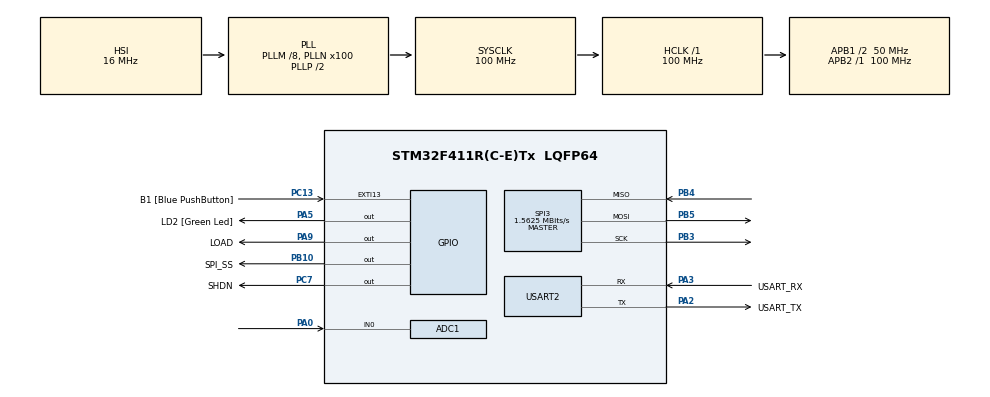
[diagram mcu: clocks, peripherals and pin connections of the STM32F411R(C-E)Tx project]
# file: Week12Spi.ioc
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Mcu.Family=STM32F4
PB10.PinState=GPIO_PIN_SET
RCC.CortexFreq_Value=100000000
SPI3.Direction=SPI_DIRECTION_2LINES
SPI3.VirtualType=VM_MASTER
ADC1.ContinuousConvMode=DISABLE
PA14.GPIO_Label=TCK
RCC.SYSCLKSource=RCC_SYSCLKSOURCE_PLLCLK
ProjectManager.StackSize=0x400
NVIC.ADC_IRQn=true\:0\:0\:false\:false\:true\:true\:true
PH0\ -\ OSC_IN.Signal=RCC_OSC_IN
RCC.HCLKFreq_Value=100000000
RCC.APB2TimFreq_Value=100000000
TIM3.Period=100
Dma.ADC1.0.Direction=DMA_PERIPH_TO_MEMORY
PC7.Signal=GPIO_Output
NVIC.DMA2_Stream0_IRQn=true\:0\:0\:false\:false\:true\:false\:true
Dma.ADC1.0.MemDataAlignment=DMA_MDATAALIGN_HALFWORD
RCC.AHBFreq_Value=100000000
SPI3.DataSize=SPI_DATASIZE_16BIT
ADC1.Channel-0\#ChannelRegularConversion=ADC_CHANNEL_0
RCC.HSE_VALUE=8000000
PB3.Mode=Full_Duplex_Master
ADC1.ScanConvMode=ENABLE
PC13-ANTI_TAMP.Signal=GPXTI13
PB4.Mode=Full_Duplex_Master
PC14-OSC32_IN.Mode=LSE-External-Oscillator
PA14.Mode=Serial_Wire
TIM3.Prescaler=100
Dma.ADC1.0.PeriphInc=DMA_PINC_DISABLE
NVIC.TIM2_IRQn=true\:0\:0\:false\:false\:true\:true\:true
PB5.Mode=Full_Duplex_Master
PC7.PinState=GPIO_PIN_SET
SH.ADCx_IN0.0=ADC1_IN0,IN0
ADC1.SamplingTime-0\#ChannelRegularConversion=ADC_SAMPLETIME_3CYCLES
RCC.FLatency-AdvancedSettings=FLASH_LATENCY_3
Mcu.Package=LQFP64
TIM2.Prescaler=99
SPI3.Mode=SPI_MODE_MASTER
USART2.VirtualMode=VM_ASYNC
PA2.GPIO_Label=USART_TX
NVIC.SPI3_IRQn=true\:0\:0\:false\:false\:true\:true\:true
RCC.APB1TimFreq_Value=100000000
Dma.ADC1.0.FIFOMode=DMA_FIFOMODE_DISABLE
Dma.Request0=ADC1
ADC1.EOCSelection=ADC_EOC_SEQ_CONV
VP_TIM3_VS_ClockSourceINT.Mode=Internal
PB4.Signal=SPI3_MISO
PA3.Signal=USART2_RX
PC15-OSC32_OUT.Mode=LSE-External-Oscillator
Dma.ADC1.0.Instance=DMA2_Stream0
ADC1.Rank-0\#ChannelRegularConversion=1
PC13-ANTI_TAMP.GPIO_Label=B1 [Blue PushButton]
PA9.GPIO_Label=LOAD
PH1\ -\ OSC_OUT.Mode=HSE-External-Clock-Source
ADC1.DiscontinuousConvMode=DISABLE
RCC.APB1CLKDivider=RCC_HCLK_DIV2
PC14-OSC32_IN.Signal=RCC_OSC32_IN
NVIC.USART2_IRQn=true\:0\:0\:false\:false\:true\:true\:true
PA0-WKUP.Signal=ADCx_IN0
PA13.Signal=SYS_JTMS-SWDIO
PA3.Mode=Asynchronous
Dma.ADC1.0.PeriphDataAlignment=DMA_PDATAALIGN_HALFWORD
PH0\ -\ OSC_IN.Mode=HSE-External-Clock-Source
ProjectManager.TargetToolchain=STM32CubeIDE
PB10.GPIO_Label=SPI_SS
Dma.ADC1.0.Mode=DMA_CIRCULAR
Dma.ADC1.0.Priority=DMA_PRIORITY_LOW
PA9.Signal=GPIO_Output
PA9.PinState=GPIO_PIN_SET
PC15-OSC32_OUT.Signal=RCC_OSC32_OUT
PB10.Signal=GPIO_Output
PA5.Signal=GPIO_Output
PH1\ -\ OSC_OUT.Signal=RCC_OSC_OUT
board=NUCLEO-F411RE
RCC.VCOOutputFreq_Value=200000000
RCC.APB2Freq_Value=100000000
SPI3.CalculateBaudRate=1.5625 MBits/s
VP_TIM2_VS_ClockSourceINT.Mode=Internal
SPI3.BaudRatePrescaler=SPI_BAUDRATEPRESCALER_32
ADC1.DMAContinuousRequests=ENABLE
PA13.Mode=Serial_Wire
Mcu.Name=STM32F411R(C-E)Tx
PA2.Signal=USART2_TX
PA13.GPIO_Label=TMS
ADC1.ExternalTrigConv=ADC_EXTERNALTRIGCONV_T3_TRGO
PC7.GPIO_Label=SHDN
RCC.48MHZClocksFreq_Value=50000000
PB3.Signal=SPI3_SCK
RCC.SYSCLKFreq_VALUE=100000000
PB5.Signal=SPI3_MOSI
ADC1.master=1
PA5.GPIO_Label=LD2 [Green Led]
PC13-ANTI_TAMP.GPIO_ModeDefaultEXTI=GPIO_MODE_IT_FALLING
PA14.Signal=SYS_JTCK-SWCLK
Dma.ADC1.0.MemInc=DMA_MINC_ENABLE
ProjectManager.HeapSize=0x200
RCC.HSI_VALUE=16000000
NVIC.PriorityGroup=NVIC_PRIORITYGROUP_0
ADC1.NbrOfConversionFlag=1
RCC.PLLM=8
RCC.PLLN=100
PA2.Mode=Asynchronous
TIM3.TIM_MasterOutputTrigger=TIM_TRGO_UPDATE
RCC.APB1Freq_Value=50000000
PA3.GPIO_Label=USART_RX

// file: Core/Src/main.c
/* USER CODE BEGIN Header */
/**
 ******************************************************************************
 * @file           : main.c
 * @brief          : Main program body
 ******************************************************************************
 * @attention
 *
 * <h2><center>&copy; Copyright (c) 2021 STMicroelectronics.
 * All rights reserved.</center></h2>
 *
 * This software component is licensed by ST under BSD 3-Clause license,
 * the "License"; You may not use this file except in compliance with the
 * License. You may obtain a copy of the License at:
 *                        opensource.org/licenses/BSD-3-Clause
 *
 ******************************************************************************
 */
/* USER CODE END Header */
#include "main.h"

/* USER CODE BEGIN Includes */
#include <math.h>
/* USER CODE END Includes */

ADC_HandleTypeDef hadc1;
DMA_HandleTypeDef hdma_adc1;

SPI_HandleTypeDef hspi3;

TIM_HandleTypeDef htim2;
TIM_HandleTypeDef htim3;

UART_HandleTypeDef huart2;

/* USER CODE BEGIN PV */
char TxDataBuffer[32] = { 0 };
char RxDataBuffer[32] = { 0 };
int16_t inputchar;
uint16_t ADCin = 0;
uint64_t _micro = 0;
uint16_t dataOut = 0;
uint16_t dataOut2 = 0;
uint8_t DACConfig = 0b0011;
float Sine_angle = 0;
float Frequency = 10;
int State = 0;
int Slope = 1;
int waveform = 0;
int Duty_cycle = 50;
float V_high = 3.3;
float V_low = 0;
float Frequency;
float Voltageout;
float Voltagein;
char Menu_Start1[] =
		"\r\n0 ---> Sawtooth\r\n 1 ---> Sine wave\r\n 2 ---> Square wave\r\n";
char Increase_f[] = " /Increase Frequency";
char Decrease_f[] = " /Decrease Frequency";
char saw_tooth[] =
		"\r\nSaw tooth \r\n + Increase Frequency\r\n - Decrease Frequency\r\n v Set voltage\r\n 1 Slope Up\r\n 2 Slope Down x Select_waveform\r\n";
char set_voltage[] = "\r\nSet Voltage \r\n b V high\r\n n V low\r\n x Back\r\n";
char set_dutycycle[] =
		"\r\n+ Increase duty cycle\r\n - Decrease duty cycle\r\n x Back\r\n";
char sin_wave[] =
		"\r\nSine wave \r\n + Increase Frequency\r\n - Decrease Frequency\r\n v Set voltage\r\n x Select_waveform\r\n";
char sqaure_wave[] =
		"\r\nSqaure wave \r\n + Increase Frequency\r\n - Decrease Frequency\r\n d Set Duty cycle\r\n v Set voltage\r\n x Select_waveform\r\n";
enum State {
	Select_waveform = 1,
	Saw_tooth,
	Sine_wave,
	Square_wave,
	Set_voltage,
	Set_Vhigh,
	Set_Vlow,
	Dutycycle,
	Set_Dutycycle
};
/* USER CODE END PV */

void SystemClock_Config(void);
static void MX_GPIO_Init(void);
static void MX_DMA_Init(void);
static void MX_USART2_UART_Init(void);
static void MX_SPI3_Init(void);
static void MX_ADC1_Init(void);
static void MX_TIM3_Init(void);
static void MX_TIM2_Init(void);
/* USER CODE BEGIN PFP */
void MCP4922SetOutput(uint8_t Config, uint16_t DACOutput);
uint64_t micros();
//void UARTRecieveAndResponsePolling();
int16_t UARTRecieveIT();
/* USER CODE END PFP */

int main(void) {

	/* MCU Configuration--------------------------------------------------------*/

	/* Reset of all peripherals, Initializes the Flash interface and the Systick. */
	HAL_Init();

	/* Configure the system clock */
	SystemClock_Config();

	/* Initialize all configured peripherals */
	MX_GPIO_Init();
	MX_DMA_Init();
	MX_USART2_UART_Init();
	MX_SPI3_Init();
	MX_ADC1_Init();
	MX_TIM3_Init();
	MX_TIM2_Init();
	/* USER CODE BEGIN 2 */
	HAL_TIM_Base_Start(&htim3);
	HAL_TIM_Base_Start_IT(&htim2);
	HAL_ADC_Start_DMA(&hadc1, (uint32_t*) &ADCin, 1);

	HAL_GPIO_WritePin(LOAD_GPIO_Port, LOAD_Pin, GPIO_PIN_RESET); // SET DAC low , A
	/* USER CODE END 2 */

	/* Infinite loop */
	/* USER CODE BEGIN WHILE */
	while (1) {
		HAL_UART_Receive_IT(&huart2, (uint8_t*) RxDataBuffer, 32);
		inputchar = UARTRecieveIT();
//		static uint64_t timestamp = 0;
		switch (State) {
		case 0:
			HAL_UART_Transmit(&huart2, (uint8_t*) Menu_Start1,
					strlen(Menu_Start1), 10);
			State = Select_waveform;
			break;
		case Select_waveform:
			if (inputchar == '0') {
				HAL_UART_Transmit(&huart2, (uint8_t*) saw_tooth,
						strlen(saw_tooth), 10);
				State = Saw_tooth;
			} else if (inputchar == '1') {
				HAL_UART_Transmit(&huart2, (uint8_t*) sin_wave,
						strlen(sin_wave), 10);
				State = Sine_wave;
			} else if (inputchar == '2') {
				HAL_UART_Transmit(&huart2, (uint8_t*) sqaure_wave,
						strlen(sqaure_wave), 10);
				State = Square_wave;
			} else if (inputchar != -1
					&& (inputchar != '0' || inputchar != '1' || inputchar != '2')) {
				HAL_UART_Transmit(&huart2, (uint8_t*) "Error\r\n",
						strlen("Error\r\n"), 10);
			}
			break;
		case Saw_tooth:
			waveform = 1;
			if (inputchar == '+') {
				HAL_UART_Transmit(&huart2, (uint8_t*) Increase_f,
						strlen(Increase_f), 10);
				Frequency += 0.1;
				if (Frequency > 10) {
					Frequency = 10;
				}
				State = Saw_tooth;
			} else if (inputchar == '-') {
				HAL_UART_Transmit(&huart2, (uint8_t*) Decrease_f,
						strlen(Decrease_f), 10);
				Frequency -= 0.1;
				if (Frequency < 0) {
					Frequency = 0;
				}
				State = Saw_tooth;
			} else if (inputchar == 'x') {
				HAL_UART_Transmit(&huart2, (uint8_t*) Menu_Start1,
						strlen(Menu_Start1), 10);
				State = Select_waveform;
			} else if (inputchar == 'v') {
				HAL_UART_Transmit(&huart2, (uint8_t*) set_voltage,
						strlen(set_voltage), 10);
				State = Set_voltage;
			} else if (inputchar == '1') {
				Slope = 1;
				State = Saw_tooth;
			} else if (inputchar == '2') {
				Slope = 2;
				State = Saw_tooth;
			}
			break;
		case Sine_wave:
			waveform = 2;
			if (inputchar == '+') {
				HAL_UART_Transmit(&huart2, (uint8_t*) Increase_f,
						strlen(Increase_f), 10);
				Frequency += 0.1;
				if (Frequency > 10) {
					Frequency = 10;
				}
				State = Sine_wave;
			} else if (inputchar == '-') {
				HAL_UART_Transmit(&huart2, (uint8_t*) Decrease_f,
						strlen(Decrease_f), 10);
				Frequency -= 0.1;
				if (Frequency < 0) {
					Frequency = 0;
				}
				State = Sine_wave;
			} else if (inputchar == 'v') {
				HAL_UART_Transmit(&huart2, (uint8_t*) set_voltage,
						strlen(set_voltage), 10);
				State = Set_voltage;
			}
			if (inputchar == 'x') {
				HAL_UART_Transmit(&huart2, (uint8_t*) Menu_Start1,
						strlen(Menu_Start1), 10);
				State = Select_waveform;
			}
			break;
		case Square_wave:
			waveform = 3;
			if (inputchar == '+') {
				HAL_UART_Transmit(&huart2, (uint8_t*) Increase_f,
						strlen(Increase_f), 10);
				Frequency += 0.1;
				if (Frequency > 10) {
					Frequency = 10;
				}
				State = Square_wave;
			} else if (inputchar == '-') {
				HAL_UART_Transmit(&huart2, (uint8_t*) Decrease_f,
						strlen(Decrease_f), 10);
				Frequency -= 0.1;
				if (Frequency < 0) {
					Frequency = 0;
				}

				State = Square_wave;
			} else if (inputchar == 'd') {
				HAL_UART_Transmit(&huart2, (uint8_t*) Decrease_f,
						strlen(Decrease_f), 10);
				State = Dutycycle;
			} else if (inputchar == 'v') {
				HAL_UART_Transmit(&huart2, (uint8_t*) set_voltage,
						strlen(set_voltage), 10);
				State = Set_voltage;
			}
			if (inputchar == 'x') {
				HAL_UART_Transmit(&huart2, (uint8_t*) Menu_Start1,
						strlen(Menu_Start1), 10);
				State = Select_waveform;
			}
			break;
		case Set_voltage:
			if (inputchar == 'b') { // V_high
				HAL_UART_Transmit(&huart2,
						(uint8_t*) "+ Increase V_high\r\n - Decrease V_high\r\n x Set voltage\r\n",
						strlen(
								"+ Increase V_high\r\n - Decrease V_high\r\n x Set voltage\r\n"),
						10);
				State = Set_Vhigh;
			} else if (inputchar == 'n') { // V_low
				HAL_UART_Transmit(&huart2,
						(uint8_t*) "+ Increase V_low\r\n - Decrease V_low\r\n x Set voltage\r\n",
						strlen(
								"+ Increase V_low\r\n - Decrease V_low\r\n x Set voltage\r\n"),
						10);
				State = Set_Vlow;
			}
			if (inputchar == 'x') {
				if (waveform == 1) {
					HAL_UART_Transmit(&huart2, (uint8_t*) saw_tooth,
							strlen(saw_tooth), 10);
					State = Saw_tooth;
				} else if (waveform == 2) {
					HAL_UART_Transmit(&huart2, (uint8_t*) sin_wave,
							strlen(Menu_Start1), 10);
					State = Sine_wave;
				} else if (waveform == 3) {
					HAL_UART_Transmit(&huart2, (uint8_t*) sqaure_wave,
							strlen(sqaure_wave), 10);
					State = Square_wave;
				}
			}
			break;
		case Set_Vhigh:
			if (inputchar == '+') {
				HAL_UART_Transmit(&huart2, (uint8_t*) " \Increase V high ",
						strlen(" \Increase V high "), 10);
				V_high += 0.1;
				if (V_high > 3.3) {
					V_high = 3.3;
				}
				State = Set_Vhigh;
			} else if (inputchar == '-') {
				HAL_UART_Transmit(&huart2, (uint8_t*) " \Decrease V high ",
						strlen(" \Decrease V high "), 10);
				V_high -= 0.1;
				if (V_high < 0) {
					V_high = 0;
				}
				State = Set_Vhigh;
			} else if (inputchar == 'x') {
				HAL_UART_Transmit(&huart2, (uint8_t*) set_voltage,
						strlen(set_voltage), 10);
				State = Set_voltage;
			}
			break;
		case Set_Vlow:
			if (inputchar == '+') {
				HAL_UART_Transmit(&huart2, (uint8_t*) " \Increase V low ",
						strlen(" \Increase V low "), 10);
				V_low += 0.1;
				if (V_low > 3.3) {
					V_low = 3.3;
				}
				State = Set_Vlow;
			} else if (inputchar == '-') {
				HAL_UART_Transmit(&huart2, (uint8_t*) " \Decrease V low ",
						strlen(" \Decrease V low "), 10);
				V_low -= 0.1;
				if (V_low < 0) {
					V_low = 0;
				}
				State = Set_Vlow;
			} else if (inputchar == 'x') {
				HAL_UART_Transmit(&huart2, (uint8_t*) set_voltage,
						strlen(set_voltage), 10);
				State = Set_voltage;
			}
			break;
		case Dutycycle:
			HAL_UART_Transmit(&huart2, (uint8_t*) set_dutycycle,
					strlen(set_dutycycle), 10);
			State = Set_Dutycycle;
			break;
		case Set_Dutycycle:
			if (inputchar == '+') {
				HAL_UART_Transmit(&huart2, (uint8_t*) "Increase dutycycle ",
						strlen("Increase dutycycle "), 10);
				Duty_cycle += 10;
				if (Duty_cycle > 100) {
					Duty_cycle = 100;
				}
				State = Set_Dutycycle;
			} else if (inputchar == '-') {
				HAL_UART_Transmit(&huart2, (uint8_t*) "Decrease dutycycle ",
						strlen("Decrease dutycycle "), 10);
				Duty_cycle -= 10;
				if (Duty_cycle < 0) {
					Duty_cycle = 0;
				}
				State = Set_Dutycycle;
			} else if (inputchar == 'x') {
				HAL_UART_Transmit(&huart2, (uint8_t*) sqaure_wave,
						strlen(sqaure_wave), 10);
				State = Square_wave;
			}
		}
		static uint64_t timestamp = 0;
		static uint64_t timestamp2 = 0;
		Voltagein = ADCin * 3.3 / 4096;
		if (micros() - timestamp > 100) {//10 kHz
			if (waveform == 1) {//saw
				if (Slope == 1) {
					if (micros() - timestamp2 <= (1 / Frequency) * 1000000) {
						Voltageout = V_low + (V_high - V_low)* ((micros() - timestamp2)/ ((1 / Frequency) * 1000000));
					} else if (micros() - timestamp2> (1 / Frequency) * 1000000) {
						timestamp2 = micros();
					}
				} else if (Slope == 2) {
					if (micros() - timestamp2 <= (1 / Frequency) * 1000000) {
						Voltageout = V_high - (V_high - V_low)* ((micros() - timestamp2)/ ((1 / Frequency) * 1000000));
					} else if (micros() - timestamp2
							> (1 / Frequency) * 1000000) {
						timestamp2 = micros();
					}
				}
			} else if (waveform == 2) {//sin
				if (micros() - timestamp2 <= ((1 / Frequency) * 1000000)) {
					Sine_angle = ((micros() - timestamp2)/ ((1 / Frequency) * 1000000)) * 2 * 3.14;//rad
					Voltageout = V_low+((sin(Sine_angle) + 1) * (V_high - V_low) / 2);
				} else if (micros() - timestamp2 > ((1 / Frequency) * 1000000)) {
					timestamp2 = micros();
				}
			} else if (waveform == 3) {//Square

				if (micros() - timestamp2 <= ((1 / Frequency) * 1000000)) {
					if (micros() - timestamp2
							<= ((1 / Frequency) * 1000000) * Duty_cycle / 100) {
						Voltageout = V_high;
					} else if (micros() - timestamp2
							> ((1 / Frequency) * 1000000) * Duty_cycle / 100) {
						Voltageout = V_low;
					}
				} else if (micros() - timestamp2 > ((1 / Frequency) * 1000000)) {
					timestamp2 = micros();
				}
			}
			dataOut = (int) (Voltageout * 4095 / 3.3);
			if (hspi3.State == HAL_SPI_STATE_READY && HAL_GPIO_ReadPin(SPI_SS_GPIO_Port, SPI_SS_Pin)== GPIO_PIN_SET) {
				MCP4922SetOutput(DACConfig, dataOut);
			}
			timestamp = micros();
		}

		/* USER CODE END WHILE */

	}
}

void SystemClock_Config(void) {
	RCC_OscInitTypeDef RCC_OscInitStruct = { 0 };
	RCC_ClkInitTypeDef RCC_ClkInitStruct = { 0 };

	/** Configure the main internal regulator output voltage
	 */
	__HAL_RCC_PWR_CLK_ENABLE();
	__HAL_PWR_VOLTAGESCALING_CONFIG(PWR_REGULATOR_VOLTAGE_SCALE1);
	/** Initializes the RCC Oscillators according to the specified parameters
	 * in the RCC_OscInitTypeDef structure.
	 */
	RCC_OscInitStruct.OscillatorType = RCC_OSCILLATORTYPE_HSI;
	RCC_OscInitStruct.HSIState = RCC_HSI_ON;
	RCC_OscInitStruct.HSICalibrationValue = RCC_HSICALIBRATION_DEFAULT;
	RCC_OscInitStruct.PLL.PLLState = RCC_PLL_ON;
	RCC_OscInitStruct.PLL.PLLSource = RCC_PLLSOURCE_HSI;
	RCC_OscInitStruct.PLL.PLLM = 8;
	RCC_OscInitStruct.PLL.PLLN = 100;
	RCC_OscInitStruct.PLL.PLLP = RCC_PLLP_DIV2;
	RCC_OscInitStruct.PLL.PLLQ = 4;
	if (HAL_RCC_OscConfig(&RCC_OscInitStruct) != HAL_OK) {
		Error_Handler();
	}
	/** Initializes the CPU, AHB and APB buses clocks
	 */
	RCC_ClkInitStruct.ClockType = RCC_CLOCKTYPE_HCLK | RCC_CLOCKTYPE_SYSCLK
			| RCC_CLOCKTYPE_PCLK1 | RCC_CLOCKTYPE_PCLK2;
	RCC_ClkInitStruct.SYSCLKSource = RCC_SYSCLKSOURCE_PLLCLK;
	RCC_ClkInitStruct.AHBCLKDivider = RCC_SYSCLK_DIV1;
	RCC_ClkInitStruct.APB1CLKDivider = RCC_HCLK_DIV2;
	RCC_ClkInitStruct.APB2CLKDivider = RCC_HCLK_DIV1;

	if (HAL_RCC_ClockConfig(&RCC_ClkInitStruct, FLASH_LATENCY_3) != HAL_OK) {
		Error_Handler();
	}
}

static void MX_ADC1_Init(void) {

	ADC_ChannelConfTypeDef sConfig = { 0 };

	/** Configure the global features of the ADC (Clock, Resolution, Data Alignment and number of conversion)
	 */
	hadc1.Instance = ADC1;
	hadc1.Init.ClockPrescaler = ADC_CLOCK_SYNC_PCLK_DIV4;
	hadc1.Init.Resolution = ADC_RESOLUTION_12B;
	hadc1.Init.ScanConvMode = ENABLE;
	hadc1.Init.ContinuousConvMode = DISABLE;
	hadc1.Init.DiscontinuousConvMode = DISABLE;
	hadc1.Init.ExternalTrigConvEdge = ADC_EXTERNALTRIGCONVEDGE_RISING;
	hadc1.Init.ExternalTrigConv = ADC_EXTERNALTRIGCONV_T3_TRGO;
	hadc1.Init.DataAlign = ADC_DATAALIGN_RIGHT;
	hadc1.Init.NbrOfConversion = 1;
	hadc1.Init.DMAContinuousRequests = ENABLE;
	hadc1.Init.EOCSelection = ADC_EOC_SEQ_CONV;
	if (HAL_ADC_Init(&hadc1) != HAL_OK) {
		Error_Handler();
	}
	/** Configure for the selected ADC regular channel its corresponding rank in the sequencer and its sample time.
	 */
	sConfig.Channel = ADC_CHANNEL_0;
	sConfig.Rank = 1;
	sConfig.SamplingTime = ADC_SAMPLETIME_3CYCLES;
	if (HAL_ADC_ConfigChannel(&hadc1, &sConfig) != HAL_OK) {
		Error_Handler();
	}

}

static void MX_SPI3_Init(void) {

	/* SPI3 parameter configuration*/
	hspi3.Instance = SPI3;
	hspi3.Init.Mode = SPI_MODE_MASTER;
	hspi3.Init.Direction = SPI_DIRECTION_2LINES;
	hspi3.Init.DataSize = SPI_DATASIZE_16BIT;
	hspi3.Init.CLKPolarity = SPI_POLARITY_LOW;
	hspi3.Init.CLKPhase = SPI_PHASE_1EDGE;
	hspi3.Init.NSS = SPI_NSS_SOFT;
	hspi3.Init.BaudRatePrescaler = SPI_BAUDRATEPRESCALER_4;
	hspi3.Init.FirstBit = SPI_FIRSTBIT_MSB;
	hspi3.Init.TIMode = SPI_TIMODE_DISABLE;
	hspi3.Init.CRCCalculation = SPI_CRCCALCULATION_DISABLE;
	hspi3.Init.CRCPolynomial = 10;
	if (HAL_SPI_Init(&hspi3) != HAL_OK) {
		Error_Handler();
	}

}

static void MX_TIM2_Init(void) {

	TIM_ClockConfigTypeDef sClockSourceConfig = { 0 };
	TIM_MasterConfigTypeDef sMasterConfig = { 0 };

	htim2.Instance = TIM2;
	htim2.Init.Prescaler = 99;
	htim2.Init.CounterMode = TIM_COUNTERMODE_UP;
	htim2.Init.Period = 4294967295;
	htim2.Init.ClockDivision = TIM_CLOCKDIVISION_DIV1;
	htim2.Init.AutoReloadPreload = TIM_AUTORELOAD_PRELOAD_DISABLE;
	if (HAL_TIM_Base_Init(&htim2) != HAL_OK) {
		Error_Handler();
	}
	sClockSourceConfig.ClockSource = TIM_CLOCKSOURCE_INTERNAL;
	if (HAL_TIM_ConfigClockSource(&htim2, &sClockSourceConfig) != HAL_OK) {
		Error_Handler();
	}
	sMasterConfig.MasterOutputTrigger = TIM_TRGO_RESET;
	sMasterConfig.MasterSlaveMode = TIM_MASTERSLAVEMODE_DISABLE;
	if (HAL_TIMEx_MasterConfigSynchronization(&htim2, &sMasterConfig)
			!= HAL_OK) {
		Error_Handler();
	}

}

static void MX_TIM3_Init(void) {

	TIM_ClockConfigTypeDef sClockSourceConfig = { 0 };
	TIM_MasterConfigTypeDef sMasterConfig = { 0 };

	htim3.Instance = TIM3;
	htim3.Init.Prescaler = 99;
	htim3.Init.CounterMode = TIM_COUNTERMODE_UP;
	htim3.Init.Period = 100;
	htim3.Init.ClockDivision = TIM_CLOCKDIVISION_DIV1;
	htim3.Init.AutoReloadPreload = TIM_AUTORELOAD_PRELOAD_DISABLE;
	if (HAL_TIM_Base_Init(&htim3) != HAL_OK) {
		Error_Handler();
	}
	sClockSourceConfig.ClockSource = TIM_CLOCKSOURCE_INTERNAL;
	if (HAL_TIM_ConfigClockSource(&htim3, &sClockSourceConfig) != HAL_OK) {
		Error_Handler();
	}
	sMasterConfig.MasterOutputTrigger = TIM_TRGO_UPDATE;
	sMasterConfig.MasterSlaveMode = TIM_MASTERSLAVEMODE_DISABLE;
	if (HAL_TIMEx_MasterConfigSynchronization(&htim3, &sMasterConfig)
			!= HAL_OK) {
		Error_Handler();
	}

}

static void MX_USART2_UART_Init(void) {

	huart2.Instance = USART2;
	huart2.Init.BaudRate = 115200;
	huart2.Init.WordLength = UART_WORDLENGTH_8B;
	huart2.Init.StopBits = UART_STOPBITS_1;
	huart2.Init.Parity = UART_PARITY_NONE;
	huart2.Init.Mode = UART_MODE_TX_RX;
	huart2.Init.HwFlowCtl = UART_HWCONTROL_NONE;
	huart2.Init.OverSampling = UART_OVERSAMPLING_16;
	if (HAL_UART_Init(&huart2) != HAL_OK) {
		Error_Handler();
	}

}

static void MX_DMA_Init(void) {

	/* DMA controller clock enable */
	__HAL_RCC_DMA2_CLK_ENABLE();

	/* DMA interrupt init */
	/* DMA2_Stream0_IRQn interrupt configuration */
	HAL_NVIC_SetPriority(DMA2_Stream0_IRQn, 0, 0);
	HAL_NVIC_EnableIRQ(DMA2_Stream0_IRQn);

}

static void MX_GPIO_Init(void) {
	GPIO_InitTypeDef GPIO_InitStruct = { 0 };

	/* GPIO Ports Clock Enable */
	__HAL_RCC_GPIOC_CLK_ENABLE();
	__HAL_RCC_GPIOH_CLK_ENABLE();
	__HAL_RCC_GPIOA_CLK_ENABLE();
	__HAL_RCC_GPIOB_CLK_ENABLE();

	/*Configure GPIO pin Output Level */
	HAL_GPIO_WritePin(LD2_GPIO_Port, LD2_Pin, GPIO_PIN_RESET);

	/*Configure GPIO pin Output Level */
	HAL_GPIO_WritePin(SPI_SS_GPIO_Port, SPI_SS_Pin, GPIO_PIN_SET);

	/*Configure GPIO pin Output Level */
	HAL_GPIO_WritePin(SHDN_GPIO_Port, SHDN_Pin, GPIO_PIN_SET);

	/*Configure GPIO pin Output Level */
	HAL_GPIO_WritePin(LOAD_GPIO_Port, LOAD_Pin, GPIO_PIN_SET);

	/*Configure GPIO pin : B1_Pin */
	GPIO_InitStruct.Pin = B1_Pin;
	GPIO_InitStruct.Mode = GPIO_MODE_IT_FALLING;
	GPIO_InitStruct.Pull = GPIO_NOPULL;
	HAL_GPIO_Init(B1_GPIO_Port, &GPIO_InitStruct);

	/*Configure GPIO pins : LD2_Pin LOAD_Pin */
	GPIO_InitStruct.Pin = LD2_Pin | LOAD_Pin;
	GPIO_InitStruct.Mode = GPIO_MODE_OUTPUT_PP;
	GPIO_InitStruct.Pull = GPIO_NOPULL;
	GPIO_InitStruct.Speed = GPIO_SPEED_FREQ_LOW;
	HAL_GPIO_Init(GPIOA, &GPIO_InitStruct);

	/*Configure GPIO pin : SPI_SS_Pin */
	GPIO_InitStruct.Pin = SPI_SS_Pin;
	GPIO_InitStruct.Mode = GPIO_MODE_OUTPUT_PP;
	GPIO_InitStruct.Pull = GPIO_NOPULL;
	GPIO_InitStruct.Speed = GPIO_SPEED_FREQ_LOW;
	HAL_GPIO_Init(SPI_SS_GPIO_Port, &GPIO_InitStruct);

	/*Configure GPIO pin : SHDN_Pin */
	GPIO_InitStruct.Pin = SHDN_Pin;
	GPIO_InitStruct.Mode = GPIO_MODE_OUTPUT_PP;
	GPIO_InitStruct.Pull = GPIO_NOPULL;
	GPIO_InitStruct.Speed = GPIO_SPEED_FREQ_LOW;
	HAL_GPIO_Init(SHDN_GPIO_Port, &GPIO_InitStruct);

}

/* USER CODE BEGIN 4 */
int16_t UARTRecieveIT() {
	static uint32_t dataPos = 0;
	int16_t data = -1;
	if (huart2.RxXferSize - huart2.RxXferCount != dataPos) {
		data = RxDataBuffer[dataPos];
		dataPos = (dataPos + 1) % huart2.RxXferSize;
	}
	return data;
}

void MCP4922SetOutput(uint8_t Config, uint16_t DACOutput) {
	uint32_t OutputPacket = (DACOutput & 0x0fff) | ((Config & 0xf) << 12);
	HAL_GPIO_WritePin(SPI_SS_GPIO_Port, SPI_SS_Pin, GPIO_PIN_RESET);
	HAL_SPI_Transmit_IT(&hspi3, &OutputPacket, 1);
}

void HAL_SPI_TxCpltCallback(SPI_HandleTypeDef *hspi) {
	if (hspi == &hspi3) {
		HAL_GPIO_WritePin(SPI_SS_GPIO_Port, SPI_SS_Pin, GPIO_PIN_SET);
	}
}

void HAL_TIM_PeriodElapsedCallback(TIM_HandleTypeDef *htim) {
	if (htim == &htim2) {
		_micro += 4294967295;
	}
}

inline uint64_t micros() {
	return htim2.Instance->CNT + _micro;
}
/* USER CODE END 4 */

void Error_Handler(void) {
	__disable_irq();
	while (1) {
	}
}

/************************ (C) COPYRIGHT STMicroelectronics *****END OF FILE****/
